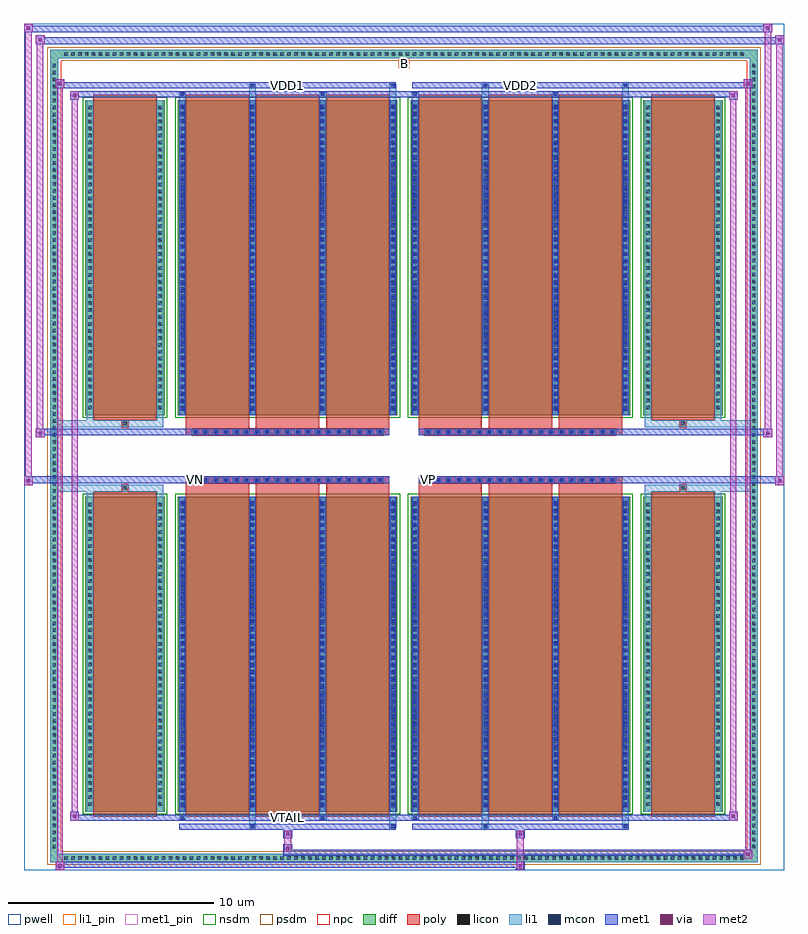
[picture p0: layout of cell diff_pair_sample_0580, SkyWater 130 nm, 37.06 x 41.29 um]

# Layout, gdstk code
import gdstk
lib = gdstk.Library(unit=1e-6, precision=5e-09)
def R(c, l, rs):  # rectangles x0, y0, x1, y1
    for r in rs: c.add(gdstk.rectangle(r[:2], r[2:], *l))
def A(c, l, x, y, w, h, nx, ny, dx, dy):  # array of equal rectangles
    R(c, l, [(x+i*dx, y+j*dy, x+i*dx+w, y+j*dy+h) for i in range(nx) for j in range(ny)])
def P(c, l, *ps):  # polygons
    for p in ps: c.add(gdstk.Polygon(p, *l))
pwell = (64, 44)
diff = (65, 20)
poly = (66, 20)
licon = (66, 44)
li1_pin = (67, 16)
li1 = (67, 20)
mcon = (67, 44)
met1_pin = (68, 16)
met1 = (68, 20)
via = (68, 44)
met2 = (69, 20)
nsdm = (93, 44)
psdm = (94, 20)
npc = (95, 20)

diff_pair_sample_0580 = lib.new_cell('diff_pair_sample_0580')
R(diff_pair_sample_0580, pwell, [(-18.53,-20.21,18.53,21.08), (-15.85,-18.4,-0.01,-0.8), (0.01,-18.4,15.85,-0.8), (-15.85,0.8,-0.01,18.4), (0.01,0.8,15.85,18.4)])
A(diff_pair_sample_0580, diff, -16.695, -19.81, 0.41, 0.41, 98, 2, 0.34, 39.21)
A(diff_pair_sample_0580, diff, -17.26, -19.245, 0.41, 0.41, 1, 113, 0, 0.34)
A(diff_pair_sample_0580, diff, 16.85, -19.245, 0.41, 0.41, 1, 113, 0, 0.34)
R(diff_pair_sample_0580, diff, [(-16.695,-19.81,16.695,-19.4), (-17.26,-19.245,-16.85,19.245), (16.85,-19.245,17.26,19.245), (-15.54,-17.355,-11.67,-1.985), (-11.03,-17.355,-0.32,-1.985), (0.32,-17.355,11.03,-1.985), (11.67,-17.355,15.54,-1.985), (-15.54,1.985,-11.67,17.355), (-11.03,1.985,-0.32,17.355), (0.32,1.985,11.03,17.355), (11.67,1.985,15.54,17.355), (-16.695,19.4,16.695,19.81)])
P(diff_pair_sample_0580, diff, [(17.26,19.81),(-17.26,19.81),(-17.26,-19.4),(-16.85,-19.4),(-16.85,19.4),(16.85,19.4),(16.85,-19.4),(-16.85,-19.4),(-17.26,-19.4),(-17.26,-19.81),(17.26,-19.81)])
A(diff_pair_sample_0580, poly, -10.64, -17.605, 3.09, 15.87, 3, 2, 3.42, 19.34)
A(diff_pair_sample_0580, poly, 0.71, -17.605, 3.09, 15.87, 3, 2, 3.42, 19.34)
A(diff_pair_sample_0580, poly, -10.64, -1.735, 3.09, 0.405, 3, 2, 3.42, 3.065)
A(diff_pair_sample_0580, poly, 0.71, -1.735, 3.09, 0.405, 3, 2, 3.42, 3.065)
A(diff_pair_sample_0580, poly, -10.34, -1.33, 0.33, 0.33, 19, 2, 0.5, 2.33)
A(diff_pair_sample_0580, poly, 1.01, -1.33, 0.33, 0.33, 19, 2, 0.5, 2.33)
R(diff_pair_sample_0580, poly, [(-15.15,-17.605,-12.06,-1.735), (12.06,-17.605,15.15,-1.735), (-13.77,-1.735,-13.44,-1.405), (-13.77,-1.735,-13.44,-1.405), (13.44,-1.735,13.77,-1.405), (13.44,-1.735,13.77,-1.405), (-10.64,-1.33,-0.71,-1), (0.71,-1.33,10.64,-1), (-10.64,1,-0.71,1.33), (0.71,1,10.64,1.33), (-13.77,1.405,-13.44,1.735), (-13.77,1.405,-13.44,1.735), (13.44,1.405,13.77,1.735), (13.44,1.405,13.77,1.735), (-15.15,1.735,-12.06,17.605), (12.06,1.735,15.15,17.605)])
A(diff_pair_sample_0580, licon, -16.575, -19.69, 0.17, 0.17, 98, 2, 0.34, 39.21)
A(diff_pair_sample_0580, licon, -17.14, -19.125, 0.17, 0.17, 1, 113, 0, 0.34)
A(diff_pair_sample_0580, licon, 16.97, -19.125, 0.17, 0.17, 1, 113, 0, 0.34)
A(diff_pair_sample_0580, licon, -15.4, -17.065, 0.17, 0.17, 1, 44, 0, 0.34)
A(diff_pair_sample_0580, licon, -11.98, -17.065, 0.17, 0.17, 1, 44, 0, 0.34)
A(diff_pair_sample_0580, licon, -10.89, -17.065, 0.17, 0.17, 4, 44, 3.42, 0.34)
A(diff_pair_sample_0580, licon, 0.46, -17.065, 0.17, 0.17, 4, 44, 3.42, 0.34)
A(diff_pair_sample_0580, licon, 11.81, -17.065, 0.17, 0.17, 1, 44, 0, 0.34)
A(diff_pair_sample_0580, licon, 15.23, -17.065, 0.17, 0.17, 1, 44, 0, 0.34)
A(diff_pair_sample_0580, licon, -10.26, -1.25, 0.17, 0.17, 19, 2, 0.5, 2.33)
A(diff_pair_sample_0580, licon, 1.09, -1.25, 0.17, 0.17, 19, 2, 0.5, 2.33)
A(diff_pair_sample_0580, licon, -15.4, 2.275, 0.17, 0.17, 1, 44, 0, 0.34)
A(diff_pair_sample_0580, licon, -11.98, 2.275, 0.17, 0.17, 1, 44, 0, 0.34)
A(diff_pair_sample_0580, licon, -10.89, 2.275, 0.17, 0.17, 4, 44, 3.42, 0.34)
A(diff_pair_sample_0580, licon, 0.46, 2.275, 0.17, 0.17, 4, 44, 3.42, 0.34)
A(diff_pair_sample_0580, licon, 11.81, 2.275, 0.17, 0.17, 1, 44, 0, 0.34)
A(diff_pair_sample_0580, licon, 15.23, 2.275, 0.17, 0.17, 1, 44, 0, 0.34)
R(diff_pair_sample_0580, licon, [(-13.69,-1.655,-13.52,-1.485), (13.52,-1.655,13.69,-1.485), (-13.69,1.485,-13.52,1.655), (13.52,1.485,13.69,1.655)])
R(diff_pair_sample_0580, li1_pin, [(-0.25,18.9,0.25,19.4)])
A(diff_pair_sample_0580, li1, -16.655, -19.77, 0.33, 0.33, 98, 2, 0.34, 39.21)
A(diff_pair_sample_0580, li1, -17.22, -19.205, 0.33, 0.33, 1, 113, 0, 0.34)
A(diff_pair_sample_0580, li1, 16.89, -19.205, 0.33, 0.33, 1, 113, 0, 0.34)
A(diff_pair_sample_0580, li1, -10.97, -17.355, 0.33, 15.37, 4, 2, 3.42, 19.34)
A(diff_pair_sample_0580, li1, 0.38, -17.355, 0.33, 15.37, 4, 2, 3.42, 19.34)
A(diff_pair_sample_0580, li1, -15.48, -17.145, 0.33, 0.33, 1, 44, 0, 0.34)
A(diff_pair_sample_0580, li1, -12.06, -17.145, 0.33, 0.33, 1, 44, 0, 0.34)
A(diff_pair_sample_0580, li1, -10.97, -17.145, 0.33, 0.33, 4, 44, 3.42, 0.34)
A(diff_pair_sample_0580, li1, 0.38, -17.145, 0.33, 0.33, 4, 44, 3.42, 0.34)
A(diff_pair_sample_0580, li1, 11.73, -17.145, 0.33, 0.33, 1, 44, 0, 0.34)
A(diff_pair_sample_0580, li1, 15.15, -17.145, 0.33, 0.33, 1, 44, 0, 0.34)
A(diff_pair_sample_0580, li1, -10.89, -17.135, 0.17, 0.17, 4, 42, 3.42, 0.36)
A(diff_pair_sample_0580, li1, -10.89, -17.135, 0.17, 14.93, 4, 2, 3.42, 19.34)
A(diff_pair_sample_0580, li1, 0.46, -17.135, 0.17, 0.17, 4, 42, 3.42, 0.36)
A(diff_pair_sample_0580, li1, 0.46, -17.135, 0.17, 14.93, 4, 2, 3.42, 19.34)
A(diff_pair_sample_0580, li1, -10.34, -1.33, 0.33, 0.33, 19, 2, 0.5, 2.33)
A(diff_pair_sample_0580, li1, 1.01, -1.33, 0.33, 0.33, 19, 2, 0.5, 2.33)
A(diff_pair_sample_0580, li1, -15.48, 2.195, 0.33, 0.33, 1, 44, 0, 0.34)
A(diff_pair_sample_0580, li1, -12.06, 2.195, 0.33, 0.33, 1, 44, 0, 0.34)
A(diff_pair_sample_0580, li1, -10.97, 2.195, 0.33, 0.33, 4, 44, 3.42, 0.34)
A(diff_pair_sample_0580, li1, 0.38, 2.195, 0.33, 0.33, 4, 44, 3.42, 0.34)
A(diff_pair_sample_0580, li1, 11.73, 2.195, 0.33, 0.33, 1, 44, 0, 0.34)
A(diff_pair_sample_0580, li1, 15.15, 2.195, 0.33, 0.33, 1, 44, 0, 0.34)
A(diff_pair_sample_0580, li1, -10.89, 2.205, 0.17, 0.17, 4, 42, 3.42, 0.36)
A(diff_pair_sample_0580, li1, 0.46, 2.205, 0.17, 0.17, 4, 42, 3.42, 0.36)
R(diff_pair_sample_0580, li1, [(-17.26,-19.81,-16.85,-19.4), (-17.26,-19.81,-16.85,-19.4), (-16.85,-19.81,16.85,-19.4), (16.85,-19.81,17.26,-19.4), (16.85,-19.81,17.26,-19.4), (-17.26,-19.4,-16.85,19.4), (16.85,-19.4,17.26,19.4), (-7.55,-18.16,-7.22,-17.355), (-7.47,-18.16,-7.3,-17.99), (-0.71,-18.16,-0.38,-17.355), (-0.63,-18.16,-0.46,-17.99), (3.8,-18.16,4.13,-17.355), (3.88,-18.16,4.05,-17.99), (10.64,-18.16,10.97,-17.355), (10.72,-18.16,10.89,-17.99), (-10.97,-17.73,-10.64,-17.355), (-10.89,-17.73,-10.72,-17.56), (-4.13,-17.73,-3.8,-17.355), (-4.05,-17.73,-3.88,-17.56), (0.38,-17.73,0.71,-17.355), (0.46,-17.73,0.63,-17.56), (7.22,-17.73,7.55,-17.355), (7.3,-17.73,7.47,-17.56), (-15.48,-17.355,-15.15,-1.985), (-12.06,-17.355,-11.73,-1.985), (11.73,-17.355,12.06,-1.985), (15.15,-17.355,15.48,-1.985), (-15.48,-1.985,-15.15,-1.405), (-12.06,-1.985,-11.73,-1.405), (11.73,-1.985,12.06,-1.405), (15.15,-1.985,15.48,-1.405), (-17.26,-1.735,-13.77,-1.405), (-15.48,-1.735,-13.77,-1.405), (-13.77,-1.735,-13.44,-1.405), (-13.44,-1.735,-11.73,-1.405), (11.73,-1.735,13.44,-1.405), (13.44,-1.735,13.77,-1.405), (13.44,-1.735,17.26,-1.405), (13.77,-1.735,15.48,-1.405), (-17.26,1.405,-13.77,1.735), (-15.48,1.405,-13.77,1.735), (-15.48,1.405,-15.15,1.985), (-13.77,1.405,-13.44,1.735), (-13.44,1.405,-11.73,1.735), (-12.06,1.405,-11.73,1.985), (11.73,1.405,13.44,1.735), (11.73,1.405,12.06,1.985), (13.44,1.405,13.77,1.735), (13.44,1.405,17.26,1.735), (13.77,1.405,15.48,1.735), (15.15,1.405,15.48,1.985), (-15.48,1.985,-15.15,17.355), (-12.06,1.985,-11.73,17.355), (11.73,1.985,12.06,17.355), (15.15,1.985,15.48,17.355), (-10.97,17.355,-10.64,17.73), (-7.55,17.355,-7.22,18.16), (-4.13,17.355,-3.8,17.73), (-0.71,17.355,-0.38,18.16), (0.38,17.355,0.71,17.73), (3.8,17.355,4.13,18.16), (7.22,17.355,7.55,17.73), (10.64,17.355,10.97,18.16), (-10.89,17.56,-10.72,17.73), (-4.05,17.56,-3.88,17.73), (0.46,17.56,0.63,17.73), (7.3,17.56,7.47,17.73), (-7.47,17.99,-7.3,18.16), (-0.63,17.99,-0.46,18.16), (3.88,17.99,4.05,18.16), (10.72,17.99,10.89,18.16), (-17.26,19.4,-16.85,19.81), (-17.26,19.4,-16.85,19.81), (-16.85,19.4,16.85,19.81), (16.85,19.4,17.26,19.81), (16.85,19.4,17.26,19.81)])
A(diff_pair_sample_0580, mcon, -10.89, -17.135, 0.17, 0.17, 4, 42, 3.42, 0.36)
A(diff_pair_sample_0580, mcon, 0.46, -17.135, 0.17, 0.17, 4, 42, 3.42, 0.36)
A(diff_pair_sample_0580, mcon, -10.26, -1.25, 0.17, 0.17, 19, 2, 0.5, 2.33)
A(diff_pair_sample_0580, mcon, 1.09, -1.25, 0.17, 0.17, 19, 2, 0.5, 2.33)
A(diff_pair_sample_0580, mcon, -10.89, 2.205, 0.17, 0.17, 4, 42, 3.42, 0.36)
A(diff_pair_sample_0580, mcon, 0.46, 2.205, 0.17, 0.17, 4, 42, 3.42, 0.36)
R(diff_pair_sample_0580, mcon, [(-7.47,-18.16,-7.3,-17.99), (-0.63,-18.16,-0.46,-17.99), (3.88,-18.16,4.05,-17.99), (10.72,-18.16,10.89,-17.99), (-10.89,-17.73,-10.72,-17.56), (-4.05,-17.73,-3.88,-17.56), (0.46,-17.73,0.63,-17.56), (7.3,-17.73,7.47,-17.56), (-10.89,17.56,-10.72,17.73), (-4.05,17.56,-3.88,17.73), (0.46,17.56,0.63,17.73), (7.3,17.56,7.47,17.73), (-7.47,17.99,-7.3,18.16), (-0.63,17.99,-0.46,18.16), (3.88,17.99,4.05,18.16), (10.72,17.99,10.89,18.16)])
R(diff_pair_sample_0580, met1_pin, [(-5.81,-17.77,-5.54,-17.5), (-10.31,-1.29,-10.04,-1.02), (1.04,-1.29,1.31,-1.02), (-5.81,17.95,-5.54,18.22), (5.54,17.95,5.81,18.22)])
A(diff_pair_sample_0580, met1, -10.95, -17.355, 0.29, 15.37, 4, 2, 3.42, 19.34)
A(diff_pair_sample_0580, met1, 0.4, -17.355, 0.29, 15.37, 4, 2, 3.42, 19.34)
A(diff_pair_sample_0580, met1, -10.95, -17.195, 0.29, 0.29, 4, 42, 3.42, 0.36)
A(diff_pair_sample_0580, met1, 0.4, -17.195, 0.29, 0.29, 4, 42, 3.42, 0.36)
A(diff_pair_sample_0580, met1, -10.32, -1.31, 0.29, 0.29, 19, 2, 0.5, 2.33)
A(diff_pair_sample_0580, met1, 1.03, -1.31, 0.29, 0.29, 19, 2, 0.5, 2.33)
A(diff_pair_sample_0580, met1, -10.95, 2.145, 0.29, 0.29, 4, 42, 3.42, 0.36)
A(diff_pair_sample_0580, met1, 0.4, 2.145, 0.29, 0.29, 4, 42, 3.42, 0.36)
R(diff_pair_sample_0580, met1, [(-16.99,-20.21,-16.56,-19.78), (5.46,-20.21,5.89,-19.78), (-16.99,-20.07,5.89,-19.78), (16.56,-19.64,16.99,-19.21), (-5.89,-19.5,16.99,-19.21), (-5.89,-19.36,-5.46,-18.93), (-5.89,-18.65,-5.46,-18.22), (5.46,-18.65,5.89,-18.22), (-10.95,-18.22,-0.4,-17.93), (-7.53,-18.22,-7.24,-17.93), (-0.69,-18.22,-0.4,-17.93), (0.4,-18.22,10.95,-17.93), (3.82,-18.22,4.11,-17.93), (10.66,-18.22,10.95,-17.93), (-16.28,-17.79,-15.85,-17.36), (-16.28,-17.79,-10.95,-17.5), (-10.95,-17.79,-10.66,-17.5), (-10.95,-17.79,-0.4,-17.5), (-4.11,-17.79,-3.82,-17.5), (-0.4,-17.79,0.4,-17.5), (0.4,-17.79,0.69,-17.5), (0.4,-17.79,10.95,-17.5), (7.24,-17.79,7.53,-17.5), (10.95,-17.79,16.28,-17.5), (15.85,-17.79,16.28,-17.36), (-18.53,-1.43,-18.1,-1), (18.1,-1.43,18.53,-1), (-18.53,-1.33,-0.71,-1), (-10.64,-1.33,-0.71,-1), (0.71,-1.33,10.64,-1), (0.71,-1.33,18.53,-1), (-17.96,0.9,-17.53,1.33), (17.53,0.9,17.96,1.33), (-17.96,1,-10.64,1.33), (-10.64,1,-0.71,1.33), (0.71,1,10.64,1.33), (10.64,1,17.96,1.33), (-16.28,17.36,-15.85,17.79), (15.85,17.36,16.28,17.79), (-16.28,17.5,-10.95,17.79), (-10.95,17.5,-10.66,17.79), (-10.95,17.5,-0.4,17.79), (-4.11,17.5,-3.82,17.79), (-0.4,17.5,0.4,17.79), (0.4,17.5,0.69,17.79), (0.4,17.5,10.95,17.79), (7.24,17.5,7.53,17.79), (10.95,17.5,16.28,17.79), (-16.99,17.93,-16.56,18.36), (-16.99,17.93,-10.95,18.22), (-10.95,17.93,-0.4,18.22), (-7.53,17.93,-7.24,18.22), (-0.69,17.93,-0.4,18.22), (0.4,17.93,10.95,18.22), (3.82,17.93,4.11,18.22), (10.66,17.93,10.95,18.22), (10.95,17.93,16.99,18.22), (16.56,17.93,16.99,18.36), (-17.96,20.08,-17.53,20.51), (-17.96,20.08,-15.85,20.41), (-15.85,20.08,15.85,20.41), (15.85,20.08,18.53,20.41), (18.1,20.08,18.53,20.51), (-18.53,20.65,-18.1,21.08), (-18.53,20.65,-15.85,20.98), (-15.85,20.65,15.85,20.98), (15.85,20.65,17.96,20.98), (17.53,20.65,17.96,21.08)])
R(diff_pair_sample_0580, via, [(-16.85,-20.07,-16.7,-19.92), (5.6,-20.07,5.75,-19.92), (16.7,-19.5,16.85,-19.35), (-5.75,-19.22,-5.6,-19.07), (-5.75,-18.51,-5.6,-18.36), (5.6,-18.51,5.75,-18.36), (-16.14,-17.65,-15.99,-17.5), (15.99,-17.65,16.14,-17.5), (-18.39,-1.29,-18.24,-1.14), (18.24,-1.29,18.39,-1.14), (-17.82,1.04,-17.67,1.19), (17.67,1.04,17.82,1.19), (-16.14,17.5,-15.99,17.65), (15.99,17.5,16.14,17.65), (-16.85,18.07,-16.7,18.22), (16.7,18.07,16.85,18.22), (-17.82,20.22,-17.67,20.37), (18.24,20.22,18.39,20.37), (-18.39,20.79,-18.24,20.94), (17.67,20.79,17.82,20.94)])
R(diff_pair_sample_0580, met2, [(-16.99,-20.21,-16.56,-19.78), (-16.92,-20.21,-16.63,18.36), (-16.63,-20.21,-16.56,-19.78), (-16.94,-20.16,-16.61,-19.83), (5.51,-20.16,5.84,-19.83), (5.51,-19.83,5.84,-18.6), (16.56,-19.64,16.99,-19.21), (16.63,-19.64,16.92,18.36), (16.92,-19.64,16.99,-19.21), (16.61,-19.59,16.94,-19.26), (-5.84,-19.31,-5.51,-18.98), (-5.84,-18.98,-5.51,-18.6), (-5.84,-18.6,-5.51,-18.27), (5.51,-18.6,5.84,-18.27), (-16.28,-17.79,-15.85,-17.36), (-16.21,-17.79,-15.92,17.79), (-15.92,-17.79,-15.85,-17.36), (15.85,-17.79,16.28,-17.36), (15.92,-17.79,16.21,17.79), (16.21,-17.79,16.28,-17.36), (-16.23,-17.74,-15.9,-17.41), (15.9,-17.74,16.23,-17.41), (-18.53,-1.43,-18.1,-1), (-18.48,-1.43,-18.15,21.08), (-18.15,-1.43,-18.1,-1), (18.1,-1.43,18.53,-1), (18.15,-1.43,18.48,20.51), (18.48,-1.43,18.53,-1), (-18.48,-1.38,-18.15,-1.05), (18.15,-1.38,18.48,-1.05), (-17.96,0.9,-17.53,1.33), (-17.91,0.9,-17.58,20.51), (-17.58,0.9,-17.53,1.33), (17.53,0.9,17.96,1.33), (17.58,0.9,17.91,21.08), (17.91,0.9,17.96,1.33), (-17.91,0.95,-17.58,1.28), (17.58,0.95,17.91,1.28), (-16.28,17.36,-15.85,17.79), (-15.92,17.36,-15.85,17.79), (15.85,17.36,16.28,17.79), (16.21,17.36,16.28,17.79), (-16.23,17.41,-15.9,17.74), (15.9,17.41,16.23,17.74), (-16.99,17.93,-16.56,18.36), (-16.63,17.93,-16.56,18.36), (16.56,17.93,16.99,18.36), (16.92,17.93,16.99,18.36), (-16.94,17.98,-16.61,18.31), (16.61,17.98,16.94,18.31), (-17.96,20.08,-17.53,20.51), (-17.58,20.08,-17.53,20.51), (18.1,20.08,18.53,20.51), (18.48,20.08,18.53,20.51), (-17.91,20.13,-17.58,20.46), (18.15,20.13,18.48,20.46), (-18.53,20.65,-18.1,21.08), (-18.15,20.65,-18.1,21.08), (17.53,20.65,17.96,21.08), (17.91,20.65,17.96,21.08), (-18.48,20.7,-18.15,21.03), (17.58,20.7,17.91,21.03)])
R(diff_pair_sample_0580, nsdm, [(-15.67,-17.485,-11.54,-1.855), (-11.16,-17.485,-0.19,-1.855), (0.19,-17.485,11.16,-1.855), (11.54,-17.485,15.67,-1.855), (-15.67,1.855,-11.54,17.485), (-11.16,1.855,-0.19,17.485), (0.19,1.855,11.16,17.485), (11.54,1.855,15.67,17.485)])
P(diff_pair_sample_0580, psdm, [(17.39,19.94),(-17.39,19.94),(-17.39,-19.27),(-16.72,-19.27),(-16.72,19.27),(16.72,19.27),(16.72,-19.27),(-16.72,-19.27),(-17.39,-19.27),(-17.39,-19.94),(17.39,-19.94)])
A(diff_pair_sample_0580, npc, -10.36, -1.35, 0.37, 0.37, 19, 2, 0.5, 2.33)
A(diff_pair_sample_0580, npc, 0.99, -1.35, 0.37, 0.37, 19, 2, 0.5, 2.33)
R(diff_pair_sample_0580, npc, [(-13.79,-1.755,-13.42,-1.385), (13.42,-1.755,13.79,-1.385), (-10.36,-1.35,-9.49,-0.98), (-10.36,-1.35,-9.49,-0.98), (-9.86,-1.35,-8.99,-0.98), (-9.86,-1.35,-8.99,-0.98), (-9.36,-1.35,-8.49,-0.98), (-9.36,-1.35,-8.49,-0.98), (-8.86,-1.35,-7.99,-0.98), (-8.86,-1.35,-7.99,-0.98), (-8.36,-1.35,-7.49,-0.98), (-8.36,-1.35,-7.49,-0.98), (-7.86,-1.35,-6.99,-0.98), (-7.86,-1.35,-6.99,-0.98), (-7.36,-1.35,-6.49,-0.98), (-7.36,-1.35,-6.49,-0.98), (-6.86,-1.35,-5.99,-0.98), (-6.86,-1.35,-5.99,-0.98), (-6.36,-1.35,-5.49,-0.98), (-6.36,-1.35,-5.49,-0.98), (-5.86,-1.35,-4.99,-0.98), (-5.86,-1.35,-4.99,-0.98), (-5.36,-1.35,-4.49,-0.98), (-5.36,-1.35,-4.49,-0.98), (-4.86,-1.35,-3.99,-0.98), (-4.86,-1.35,-3.99,-0.98), (-4.36,-1.35,-3.49,-0.98), (-4.36,-1.35,-3.49,-0.98), (-3.86,-1.35,-2.99,-0.98), (-3.86,-1.35,-2.99,-0.98), (-3.36,-1.35,-2.49,-0.98), (-3.36,-1.35,-2.49,-0.98), (-2.86,-1.35,-1.99,-0.98), (-2.86,-1.35,-1.99,-0.98), (-2.36,-1.35,-1.49,-0.98), (-2.36,-1.35,-1.49,-0.98), (-1.86,-1.35,-0.99,-0.98), (-1.86,-1.35,-0.99,-0.98), (0.99,-1.35,1.86,-0.98), (0.99,-1.35,1.86,-0.98), (1.49,-1.35,2.36,-0.98), (1.49,-1.35,2.36,-0.98), (1.99,-1.35,2.86,-0.98), (1.99,-1.35,2.86,-0.98), (2.49,-1.35,3.36,-0.98), (2.49,-1.35,3.36,-0.98), (2.99,-1.35,3.86,-0.98), (2.99,-1.35,3.86,-0.98), (3.49,-1.35,4.36,-0.98), (3.49,-1.35,4.36,-0.98), (3.99,-1.35,4.86,-0.98), (3.99,-1.35,4.86,-0.98), (4.49,-1.35,5.36,-0.98), (4.49,-1.35,5.36,-0.98), (4.99,-1.35,5.86,-0.98), (4.99,-1.35,5.86,-0.98), (5.49,-1.35,6.36,-0.98), (5.49,-1.35,6.36,-0.98), (5.99,-1.35,6.86,-0.98), (5.99,-1.35,6.86,-0.98), (6.49,-1.35,7.36,-0.98), (6.49,-1.35,7.36,-0.98), (6.99,-1.35,7.86,-0.98), (6.99,-1.35,7.86,-0.98), (7.49,-1.35,8.36,-0.98), (7.49,-1.35,8.36,-0.98), (7.99,-1.35,8.86,-0.98), (7.99,-1.35,8.86,-0.98), (8.49,-1.35,9.36,-0.98), (8.49,-1.35,9.36,-0.98), (8.99,-1.35,9.86,-0.98), (8.99,-1.35,9.86,-0.98), (9.49,-1.35,10.36,-0.98), (9.49,-1.35,10.36,-0.98), (-10.36,0.98,-9.49,1.35), (-10.36,0.98,-9.49,1.35), (-9.86,0.98,-8.99,1.35), (-9.86,0.98,-8.99,1.35), (-9.36,0.98,-8.49,1.35), (-9.36,0.98,-8.49,1.35), (-8.86,0.98,-7.99,1.35), (-8.86,0.98,-7.99,1.35), (-8.36,0.98,-7.49,1.35), (-8.36,0.98,-7.49,1.35), (-7.86,0.98,-6.99,1.35), (-7.86,0.98,-6.99,1.35), (-7.36,0.98,-6.49,1.35), (-7.36,0.98,-6.49,1.35), (-6.86,0.98,-5.99,1.35), (-6.86,0.98,-5.99,1.35), (-6.36,0.98,-5.49,1.35), (-6.36,0.98,-5.49,1.35), (-5.86,0.98,-4.99,1.35), (-5.86,0.98,-4.99,1.35), (-5.36,0.98,-4.49,1.35), (-5.36,0.98,-4.49,1.35), (-4.86,0.98,-3.99,1.35), (-4.86,0.98,-3.99,1.35), (-4.36,0.98,-3.49,1.35), (-4.36,0.98,-3.49,1.35), (-3.86,0.98,-2.99,1.35), (-3.86,0.98,-2.99,1.35), (-3.36,0.98,-2.49,1.35), (-3.36,0.98,-2.49,1.35), (-2.86,0.98,-1.99,1.35), (-2.86,0.98,-1.99,1.35), (-2.36,0.98,-1.49,1.35), (-2.36,0.98,-1.49,1.35), (-1.86,0.98,-0.99,1.35), (-1.86,0.98,-0.99,1.35), (0.99,0.98,1.86,1.35), (0.99,0.98,1.86,1.35), (1.49,0.98,2.36,1.35), (1.49,0.98,2.36,1.35), (1.99,0.98,2.86,1.35), (1.99,0.98,2.86,1.35), (2.49,0.98,3.36,1.35), (2.49,0.98,3.36,1.35), (2.99,0.98,3.86,1.35), (2.99,0.98,3.86,1.35), (3.49,0.98,4.36,1.35), (3.49,0.98,4.36,1.35), (3.99,0.98,4.86,1.35), (3.99,0.98,4.86,1.35), (4.49,0.98,5.36,1.35), (4.49,0.98,5.36,1.35), (4.99,0.98,5.86,1.35), (4.99,0.98,5.86,1.35), (5.49,0.98,6.36,1.35), (5.49,0.98,6.36,1.35), (5.99,0.98,6.86,1.35), (5.99,0.98,6.86,1.35), (6.49,0.98,7.36,1.35), (6.49,0.98,7.36,1.35), (6.99,0.98,7.86,1.35), (6.99,0.98,7.86,1.35), (7.49,0.98,8.36,1.35), (7.49,0.98,8.36,1.35), (7.99,0.98,8.86,1.35), (7.99,0.98,8.86,1.35), (8.49,0.98,9.36,1.35), (8.49,0.98,9.36,1.35), (8.99,0.98,9.86,1.35), (8.99,0.98,9.86,1.35), (9.49,0.98,10.36,1.35), (9.49,0.98,10.36,1.35), (-13.79,1.385,-13.42,1.755), (13.42,1.385,13.79,1.755)])
diff_pair_sample_0580.add(gdstk.Label('VTAIL', (-5.675,-17.635), layer=68, texttype=5))
diff_pair_sample_0580.add(gdstk.Label('VN', (-10.175,-1.155), layer=68, texttype=5))
diff_pair_sample_0580.add(gdstk.Label('VP', (1.175,-1.155), layer=68, texttype=5))
diff_pair_sample_0580.add(gdstk.Label('B', (0,19.15), layer=67, texttype=5))
diff_pair_sample_0580.add(gdstk.Label('VDD2', (5.675,18.085), layer=68, texttype=5))
diff_pair_sample_0580.add(gdstk.Label('VDD1', (-5.675,18.085), layer=68, texttype=5))

lib.write_gds('diff_pair_sample_0580.gds')
